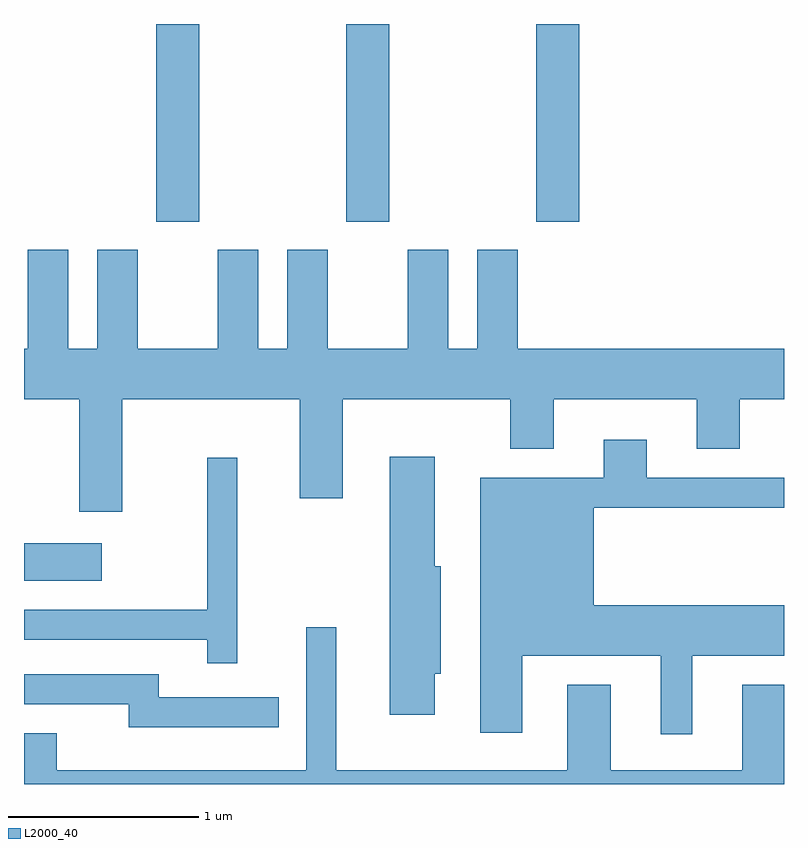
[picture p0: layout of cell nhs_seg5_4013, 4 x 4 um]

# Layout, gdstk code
import gdstk
lib = gdstk.Library(unit=1e-6, precision=1e-09)
def R(c, l, rs):  # rectangles x0, y0, x1, y1
    for r in rs: c.add(gdstk.rectangle(r[:2], r[2:], *l))
def A(c, l, x, y, w, h, nx, ny, dx, dy):  # array of equal rectangles
    R(c, l, [(x+i*dx, y+j*dy, x+i*dx+w, y+j*dy+h) for i in range(nx) for j in range(ny)])
def P(c, l, *ps):  # polygons
    for p in ps: c.add(gdstk.Polygon(p, *l))
L2000_40 = (2000, 40)

nhs_seg5_4013 = lib.new_cell('nhs_seg5_4013')
A(nhs_seg5_4013, L2000_40, 304.306, 1491.031, 0.228, 1.041, 3, 1, 1, 0)
R(nhs_seg5_4013, L2000_40, [(303.611,1489.141,304.019,1489.339)])
P(nhs_seg5_4013, L2000_40, [(304.129,1490.096),(305.061,1490.096),(305.061,1489.576),(305.289,1489.576),(305.289,1490.096),(306.171,1490.096),(306.171,1489.836),(306.399,1489.836),(306.399,1490.096),(307.151,1490.096),(307.151,1489.836),(307.379,1489.836),(307.379,1490.096),(307.611,1490.096),(307.611,1490.364),(306.209,1490.364),(306.209,1490.884),(305.996,1490.884),(305.996,1490.364),(305.844,1490.364),(305.844,1490.884),(305.631,1490.884),(305.631,1490.364),(305.209,1490.364),(305.209,1490.884),(304.996,1490.884),(304.996,1490.364),(304.844,1490.364),(304.844,1490.884),(304.631,1490.884),(304.631,1490.364),(304.209,1490.364),(304.209,1490.884),(303.996,1490.884),(303.996,1490.364),(303.844,1490.364),(303.844,1490.884),(303.631,1490.884),(303.631,1490.364),(303.611,1490.364),(303.611,1490.096),(303.901,1490.096),(303.901,1489.506),(304.129,1489.506)],
  [(307.129,1488.746),(307.611,1488.746),(307.611,1489.014),(306.609,1489.014),(306.609,1489.526),(307.611,1489.526),(307.611,1489.684),(306.889,1489.684),(306.889,1489.884),(306.661,1489.884),(306.661,1489.684),(306.011,1489.684),(306.011,1488.341),(306.234,1488.341),(306.234,1488.746),(306.961,1488.746),(306.961,1488.333),(307.129,1488.333)],
  [(305.774,1488.651),(305.804,1488.651),(305.804,1489.219),(305.774,1489.219),(305.774,1489.794),(305.536,1489.794),(305.536,1488.436),(305.774,1488.436)],
  [(304.734,1489.788),(304.576,1489.788),(304.576,1488.989),(303.611,1488.989),(303.611,1488.831),(304.576,1488.831),(304.576,1488.708),(304.734,1488.708)],
  [(307.611,1488.594),(307.391,1488.594),(307.391,1488.144),(306.699,1488.144),(306.699,1488.594),(306.471,1488.594),(306.471,1488.144),(305.254,1488.144),(305.254,1488.898),(305.096,1488.898),(305.096,1488.144),(303.784,1488.144),(303.784,1488.339),(303.611,1488.339),(303.611,1488.072),(307.611,1488.072)],
  [(304.953,1488.529),(304.319,1488.529),(304.319,1488.649),(303.611,1488.649),(303.611,1488.491),(304.161,1488.491),(304.161,1488.371),(304.953,1488.371)])

lib.write_gds('nhs_seg5_4013.gds')
